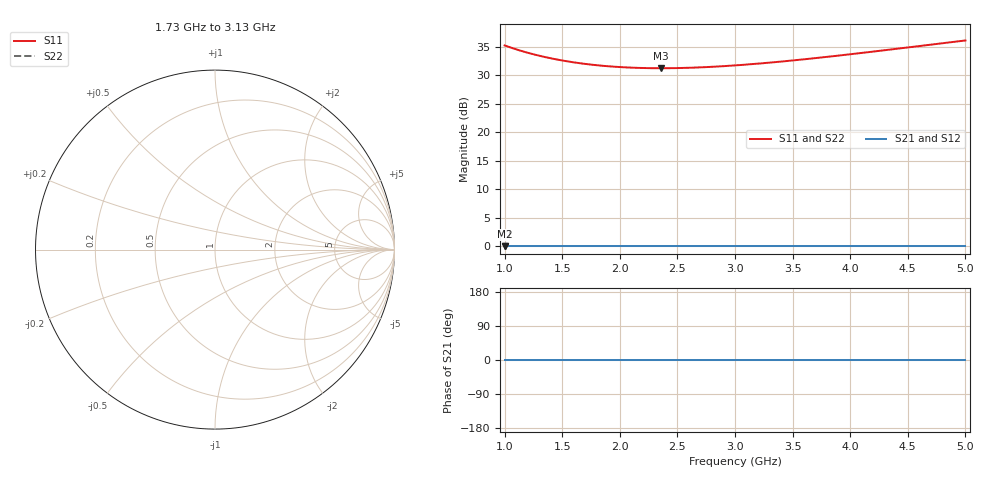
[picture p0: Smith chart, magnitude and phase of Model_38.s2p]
# GHZ S RI R 50
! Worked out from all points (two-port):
!   401 points, 1 GHz to 5 GHz, reference 50 ohm
!   highest |S21| = 0.00 dB at 1 GHz (marker M1); lowest = 0.0 dB at 1 GHz (marker M2)
!   |S21| within 3 dB of the highest: start of sweep to end of sweep
!   lowest |S11| = 31.3 dB at 2.36 GHz (marker M3)
!   |S11| at or under -10 dB: nowhere
!   |S22| runs from 31.3 to 36.1 dB; largest |S21 - S12| = 0
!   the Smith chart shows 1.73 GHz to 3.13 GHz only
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1  58 0  1 0  1 0  58 0
1.02  57.03 0  1 0  1 0  57.03 0
1.15  51.7 0  1 0  1 0  51.7 0
1.22  49.37 0  1 0  1 0  49.37 0
1.3  47.09 0  1 0  1 0  47.09 0
1.38  45.15 0  1 0  1 0  45.15 0
1.47  43.3 0  1 0  1 0  43.3 0
1.57  41.61 0  1 0  1 0  41.61 0
1.67  40.23 0  1 0  1 0  40.23 0
1.82  38.67 0  1 0  1 0  38.67 0
1.98  37.53 0  1 0  1 0  37.53 0
2.15  36.83 0  1 0  1 0  36.83 0
2.34  36.55 0  1 0  1 0  36.55 0
2.36  36.55 0  1 0  1 0  36.55 0
2.67  37.09 0  1 0  1 0  37.09 0
3  38.7 0  1 0  1 0  38.7 0
3.33  41.18 0  1 0  1 0  41.18 0
3.67  44.53 0  1 0  1 0  44.53 0
4  48.48 0  1 0  1 0  48.48 0
4.34  53.2 0  1 0  1 0  53.2 0
4.64  57.88 0  1 0  1 0  57.88 0
5  64.1 0  1 0  1 0  64.1 0
